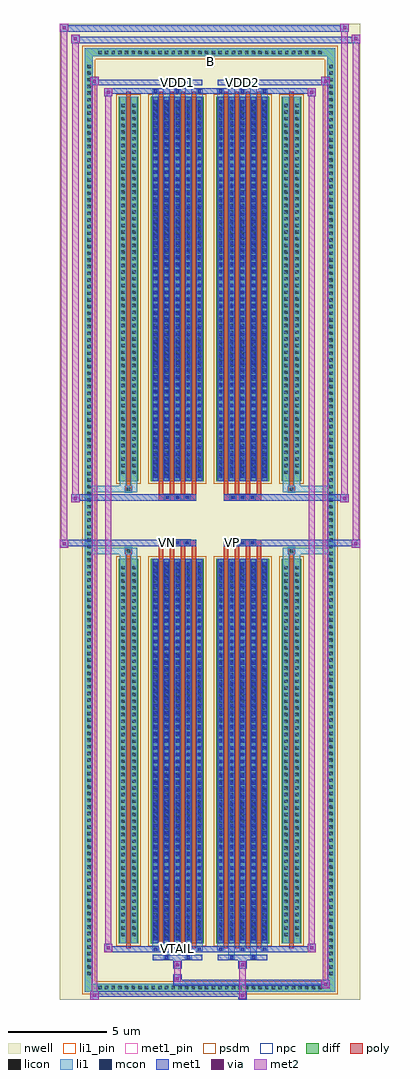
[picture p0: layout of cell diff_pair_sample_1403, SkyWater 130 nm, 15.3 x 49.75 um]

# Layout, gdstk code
import gdstk
lib = gdstk.Library(unit=1e-6, precision=5e-09)
def R(c, l, rs):  # rectangles x0, y0, x1, y1
    for r in rs: c.add(gdstk.rectangle(r[:2], r[2:], *l))
def A(c, l, x, y, w, h, nx, ny, dx, dy):  # array of equal rectangles
    R(c, l, [(x+i*dx, y+j*dy, x+i*dx+w, y+j*dy+h) for i in range(nx) for j in range(ny)])
def P(c, l, *ps):  # polygons
    for p in ps: c.add(gdstk.Polygon(p, *l))
nwell = (64, 20)
diff = (65, 20)
poly = (66, 20)
licon = (66, 44)
li1_pin = (67, 16)
li1 = (67, 20)
mcon = (67, 44)
met1_pin = (68, 16)
met1 = (68, 20)
via = (68, 44)
met2 = (69, 20)
psdm = (94, 20)
npc = (95, 20)

diff_pair_sample_1403 = lib.new_cell('diff_pair_sample_1403')
R(diff_pair_sample_1403, nwell, [(-7.65,-24.44,7.65,25.31), (-4.97,-22.63,-0.01,-0.795), (0.01,-22.63,4.97,-0.795), (-4.97,0.795,-0.01,22.63), (0.01,0.795,4.97,22.63)])
A(diff_pair_sample_1403, diff, -5.815, -24.04, 0.41, 0.41, 34, 2, 0.34, 47.67)
A(diff_pair_sample_1403, diff, -6.38, -23.325, 0.41, 0.41, 1, 137, 0, 0.34)
A(diff_pair_sample_1403, diff, 5.97, -23.325, 0.41, 0.41, 1, 137, 0, 0.34)
R(diff_pair_sample_1403, diff, [(-5.815,-24.04,5.815,-23.63), (-6.38,-23.325,-5.97,23.325), (5.97,-23.325,6.38,23.325), (-4.66,-21.585,-3.65,-1.985), (-3.01,-21.585,-0.32,-1.985), (0.32,-21.585,3.01,-1.985), (3.65,-21.585,4.66,-1.985), (-4.66,1.985,-3.65,21.585), (-3.01,1.985,-0.32,21.585), (0.32,1.985,3.01,21.585), (3.65,1.985,4.66,21.585), (-5.815,23.63,5.815,24.04)])
P(diff_pair_sample_1403, diff, [(6.38,24.04),(-6.38,24.04),(-6.38,-23.63),(-5.97,-23.63),(-5.97,23.63),(5.97,23.63),(5.97,-23.63),(-5.97,-23.63),(-6.38,-23.63),(-6.38,-24.04),(6.38,-24.04)])
A(diff_pair_sample_1403, poly, -2.62, -21.835, 0.23, 20.1, 4, 2, 0.56, 23.57)
A(diff_pair_sample_1403, poly, 0.71, -21.835, 0.23, 20.1, 4, 2, 0.56, 23.57)
A(diff_pair_sample_1403, poly, -2.62, -1.735, 0.23, 0.41, 4, 2, 0.56, 3.06)
A(diff_pair_sample_1403, poly, 0.71, -1.735, 0.23, 0.41, 4, 2, 0.56, 3.06)
A(diff_pair_sample_1403, poly, -2.33, -1.325, 0.33, 0.33, 3, 2, 0.5, 2.32)
A(diff_pair_sample_1403, poly, 1, -1.325, 0.33, 0.33, 3, 2, 0.5, 2.32)
R(diff_pair_sample_1403, poly, [(-4.27,-21.835,-4.04,-1.735), (4.04,-21.835,4.27,-1.735), (-4.32,-1.735,-3.99,-1.405), (-4.32,-1.735,-3.99,-1.405), (3.99,-1.735,4.32,-1.405), (3.99,-1.735,4.32,-1.405), (-2.62,-1.325,-0.71,-0.995), (0.71,-1.325,2.62,-0.995), (-2.62,0.995,-0.71,1.325), (0.71,0.995,2.62,1.325), (-4.32,1.405,-3.99,1.735), (-4.32,1.405,-3.99,1.735), (3.99,1.405,4.32,1.735), (3.99,1.405,4.32,1.735), (-4.27,1.735,-4.04,21.835), (4.04,1.735,4.27,21.835)])
A(diff_pair_sample_1403, licon, -5.695, -23.92, 0.17, 0.17, 34, 2, 0.34, 47.67)
A(diff_pair_sample_1403, licon, -6.26, -23.205, 0.17, 0.17, 1, 137, 0, 0.34)
A(diff_pair_sample_1403, licon, 6.09, -23.205, 0.17, 0.17, 1, 137, 0, 0.34)
A(diff_pair_sample_1403, licon, -4.52, -21.22, 0.17, 0.17, 1, 56, 0, 0.34)
A(diff_pair_sample_1403, licon, -3.96, -21.22, 0.17, 0.17, 1, 56, 0, 0.34)
A(diff_pair_sample_1403, licon, -2.87, -21.22, 0.17, 0.17, 5, 56, 0.56, 0.34)
A(diff_pair_sample_1403, licon, 0.46, -21.22, 0.17, 0.17, 5, 56, 0.56, 0.34)
A(diff_pair_sample_1403, licon, 3.79, -21.22, 0.17, 0.17, 1, 56, 0, 0.34)
A(diff_pair_sample_1403, licon, 4.35, -21.22, 0.17, 0.17, 1, 56, 0, 0.34)
A(diff_pair_sample_1403, licon, -2.25, -1.245, 0.17, 0.17, 3, 2, 0.5, 2.32)
A(diff_pair_sample_1403, licon, 1.08, -1.245, 0.17, 0.17, 3, 2, 0.5, 2.32)
A(diff_pair_sample_1403, licon, -4.52, 2.35, 0.17, 0.17, 1, 56, 0, 0.34)
A(diff_pair_sample_1403, licon, -3.96, 2.35, 0.17, 0.17, 1, 56, 0, 0.34)
A(diff_pair_sample_1403, licon, -2.87, 2.35, 0.17, 0.17, 5, 56, 0.56, 0.34)
A(diff_pair_sample_1403, licon, 0.46, 2.35, 0.17, 0.17, 5, 56, 0.56, 0.34)
A(diff_pair_sample_1403, licon, 3.79, 2.35, 0.17, 0.17, 1, 56, 0, 0.34)
A(diff_pair_sample_1403, licon, 4.35, 2.35, 0.17, 0.17, 1, 56, 0, 0.34)
R(diff_pair_sample_1403, licon, [(-4.24,-1.655,-4.07,-1.485), (4.07,-1.655,4.24,-1.485), (-4.24,1.485,-4.07,1.655), (4.07,1.485,4.24,1.655)])
R(diff_pair_sample_1403, li1_pin, [(-0.25,23.13,0.25,23.63)])
A(diff_pair_sample_1403, li1, -5.775, -24, 0.33, 0.33, 34, 2, 0.34, 47.67)
A(diff_pair_sample_1403, li1, -6.34, -23.285, 0.33, 0.33, 1, 137, 0, 0.34)
A(diff_pair_sample_1403, li1, 6.01, -23.285, 0.33, 0.33, 1, 137, 0, 0.34)
A(diff_pair_sample_1403, li1, -2.95, -21.96, 0.33, 0.375, 3, 2, 1.12, 43.545)
A(diff_pair_sample_1403, li1, -2.87, -21.96, 0.17, 0.17, 3, 2, 1.12, 43.75)
A(diff_pair_sample_1403, li1, 0.38, -21.96, 0.33, 0.375, 3, 2, 1.12, 43.545)
A(diff_pair_sample_1403, li1, 0.46, -21.96, 0.17, 0.17, 3, 2, 1.12, 43.75)
A(diff_pair_sample_1403, li1, -2.95, -21.585, 0.33, 19.6, 5, 2, 0.56, 23.57)
A(diff_pair_sample_1403, li1, 0.38, -21.585, 0.33, 19.6, 5, 2, 0.56, 23.57)
A(diff_pair_sample_1403, li1, -2.87, -21.41, 0.17, 0.17, 5, 54, 0.56, 0.36)
A(diff_pair_sample_1403, li1, -2.87, -21.41, 0.17, 19.25, 5, 2, 0.56, 23.57)
A(diff_pair_sample_1403, li1, 0.46, -21.41, 0.17, 0.17, 5, 54, 0.56, 0.36)
A(diff_pair_sample_1403, li1, 0.46, -21.41, 0.17, 19.25, 5, 2, 0.56, 23.57)
A(diff_pair_sample_1403, li1, -4.6, -21.3, 0.33, 0.33, 1, 56, 0, 0.34)
A(diff_pair_sample_1403, li1, -4.04, -21.3, 0.33, 0.33, 1, 56, 0, 0.34)
A(diff_pair_sample_1403, li1, -2.95, -21.3, 0.33, 0.33, 5, 56, 0.56, 0.34)
A(diff_pair_sample_1403, li1, 0.38, -21.3, 0.33, 0.33, 5, 56, 0.56, 0.34)
A(diff_pair_sample_1403, li1, 3.71, -21.3, 0.33, 0.33, 1, 56, 0, 0.34)
A(diff_pair_sample_1403, li1, 4.27, -21.3, 0.33, 0.33, 1, 56, 0, 0.34)
A(diff_pair_sample_1403, li1, -2.33, -1.325, 0.33, 0.33, 3, 2, 0.5, 2.32)
A(diff_pair_sample_1403, li1, 1, -1.325, 0.33, 0.33, 3, 2, 0.5, 2.32)
A(diff_pair_sample_1403, li1, -2.87, 2.16, 0.17, 0.17, 5, 54, 0.56, 0.36)
A(diff_pair_sample_1403, li1, 0.46, 2.16, 0.17, 0.17, 5, 54, 0.56, 0.36)
A(diff_pair_sample_1403, li1, -4.6, 2.27, 0.33, 0.33, 1, 56, 0, 0.34)
A(diff_pair_sample_1403, li1, -4.04, 2.27, 0.33, 0.33, 1, 56, 0, 0.34)
A(diff_pair_sample_1403, li1, -2.95, 2.27, 0.33, 0.33, 5, 56, 0.56, 0.34)
A(diff_pair_sample_1403, li1, 0.38, 2.27, 0.33, 0.33, 5, 56, 0.56, 0.34)
A(diff_pair_sample_1403, li1, 3.71, 2.27, 0.33, 0.33, 1, 56, 0, 0.34)
A(diff_pair_sample_1403, li1, 4.27, 2.27, 0.33, 0.33, 1, 56, 0, 0.34)
R(diff_pair_sample_1403, li1, [(-6.38,-24.04,-5.97,-23.63), (-6.38,-24.04,-5.97,-23.63), (-5.97,-24.04,5.97,-23.63), (5.97,-24.04,6.38,-23.63), (5.97,-24.04,6.38,-23.63), (-6.38,-23.63,-5.97,23.63), (5.97,-23.63,6.38,23.63), (-2.39,-22.39,-2.06,-21.585), (-2.31,-22.39,-2.14,-22.22), (-1.27,-22.39,-0.94,-21.585), (-1.19,-22.39,-1.02,-22.22), (0.94,-22.39,1.27,-21.585), (1.02,-22.39,1.19,-22.22), (2.06,-22.39,2.39,-21.585), (2.14,-22.39,2.31,-22.22), (-4.6,-21.585,-4.27,-1.985), (-4.04,-21.585,-3.71,-1.985), (3.71,-21.585,4.04,-1.985), (4.27,-21.585,4.6,-1.985), (-4.6,-1.985,-4.27,-1.405), (-4.04,-1.985,-3.71,-1.405), (3.71,-1.985,4.04,-1.405), (4.27,-1.985,4.6,-1.405), (-6.38,-1.735,-4.32,-1.405), (-4.6,-1.735,-4.32,-1.405), (-4.32,-1.735,-3.99,-1.405), (-3.99,-1.735,-3.71,-1.405), (3.71,-1.735,3.99,-1.405), (3.99,-1.735,4.32,-1.405), (3.99,-1.735,6.38,-1.405), (4.32,-1.735,4.6,-1.405), (-6.38,1.405,-4.32,1.735), (-4.6,1.405,-4.32,1.735), (-4.6,1.405,-4.27,1.985), (-4.32,1.405,-3.99,1.735), (-4.04,1.405,-3.71,1.985), (-3.99,1.405,-3.71,1.735), (3.71,1.405,3.99,1.735), (3.71,1.405,4.04,1.985), (3.99,1.405,4.32,1.735), (3.99,1.405,6.38,1.735), (4.27,1.405,4.6,1.985), (4.32,1.405,4.6,1.735), (-4.6,1.985,-4.27,21.585), (-4.04,1.985,-3.71,21.585), (3.71,1.985,4.04,21.585), (4.27,1.985,4.6,21.585), (-2.39,21.585,-2.06,22.39), (-1.27,21.585,-0.94,22.39), (0.94,21.585,1.27,22.39), (2.06,21.585,2.39,22.39), (-2.31,22.22,-2.14,22.39), (-1.19,22.22,-1.02,22.39), (1.02,22.22,1.19,22.39), (2.14,22.22,2.31,22.39), (-6.38,23.63,-5.97,24.04), (-6.38,23.63,-5.97,24.04), (-5.97,23.63,5.97,24.04), (5.97,23.63,6.38,24.04), (5.97,23.63,6.38,24.04)])
A(diff_pair_sample_1403, mcon, -2.87, -21.96, 0.17, 0.17, 3, 2, 1.12, 43.75)
A(diff_pair_sample_1403, mcon, 0.46, -21.96, 0.17, 0.17, 3, 2, 1.12, 43.75)
A(diff_pair_sample_1403, mcon, -2.87, -21.41, 0.17, 0.17, 5, 54, 0.56, 0.36)
A(diff_pair_sample_1403, mcon, 0.46, -21.41, 0.17, 0.17, 5, 54, 0.56, 0.36)
A(diff_pair_sample_1403, mcon, -2.25, -1.245, 0.17, 0.17, 3, 2, 0.5, 2.32)
A(diff_pair_sample_1403, mcon, 1.08, -1.245, 0.17, 0.17, 3, 2, 0.5, 2.32)
A(diff_pair_sample_1403, mcon, -2.87, 2.16, 0.17, 0.17, 5, 54, 0.56, 0.36)
A(diff_pair_sample_1403, mcon, 0.46, 2.16, 0.17, 0.17, 5, 54, 0.56, 0.36)
R(diff_pair_sample_1403, mcon, [(-2.31,-22.39,-2.14,-22.22), (-1.19,-22.39,-1.02,-22.22), (1.02,-22.39,1.19,-22.22), (2.14,-22.39,2.31,-22.22), (-2.31,22.22,-2.14,22.39), (-1.19,22.22,-1.02,22.39), (1.02,22.22,1.19,22.39), (2.14,22.22,2.31,22.39)])
R(diff_pair_sample_1403, met1_pin, [(-1.8,-22,-1.53,-21.73), (-2.3,-1.285,-2.03,-1.015), (1.03,-1.285,1.3,-1.015), (-1.8,22.18,-1.53,22.45), (1.53,22.18,1.8,22.45)])
A(diff_pair_sample_1403, met1, -2.93, -22.02, 0.29, 0.29, 3, 2, 1.12, 43.75)
A(diff_pair_sample_1403, met1, 0.4, -22.02, 0.29, 0.29, 3, 2, 1.12, 43.75)
A(diff_pair_sample_1403, met1, -2.93, -21.585, 0.29, 19.6, 5, 2, 0.56, 23.57)
A(diff_pair_sample_1403, met1, 0.4, -21.585, 0.29, 19.6, 5, 2, 0.56, 23.57)
A(diff_pair_sample_1403, met1, -2.93, -21.47, 0.29, 0.29, 5, 54, 0.56, 0.36)
A(diff_pair_sample_1403, met1, 0.4, -21.47, 0.29, 0.29, 5, 54, 0.56, 0.36)
A(diff_pair_sample_1403, met1, -2.31, -1.305, 0.29, 0.29, 3, 2, 0.5, 2.32)
A(diff_pair_sample_1403, met1, 1.02, -1.305, 0.29, 0.29, 3, 2, 0.5, 2.32)
A(diff_pair_sample_1403, met1, -2.93, 2.1, 0.29, 0.29, 5, 54, 0.56, 0.36)
A(diff_pair_sample_1403, met1, 0.4, 2.1, 0.29, 0.29, 5, 54, 0.56, 0.36)
R(diff_pair_sample_1403, met1, [(-6.11,-24.44,-5.68,-24.01), (1.45,-24.44,1.88,-24.01), (-6.11,-24.3,1.88,-24.01), (5.68,-23.87,6.11,-23.44), (-1.88,-23.73,6.11,-23.44), (-1.88,-23.59,-1.45,-23.16), (-1.88,-22.88,-1.45,-22.45), (1.45,-22.88,1.88,-22.45), (-2.93,-22.45,-0.4,-22.16), (-2.37,-22.45,-2.08,-22.16), (-1.25,-22.45,-0.96,-22.16), (0.4,-22.45,2.93,-22.16), (0.96,-22.45,1.25,-22.16), (2.08,-22.45,2.37,-22.16), (-5.4,-22.02,-4.97,-21.59), (-5.4,-22.02,-2.93,-21.73), (-2.93,-22.02,-0.4,-21.73), (-0.4,-22.02,0.4,-21.73), (0.4,-22.02,2.93,-21.73), (2.93,-22.02,5.4,-21.73), (4.97,-22.02,5.4,-21.59), (-7.65,-1.425,-7.22,-0.995), (7.22,-1.425,7.65,-0.995), (-7.65,-1.325,-0.71,-0.995), (-2.62,-1.325,-0.71,-0.995), (0.71,-1.325,2.62,-0.995), (0.71,-1.325,7.65,-0.995), (-7.08,0.895,-6.65,1.325), (6.65,0.895,7.08,1.325), (-7.08,0.995,-2.62,1.325), (-2.62,0.995,-0.71,1.325), (0.71,0.995,2.62,1.325), (2.62,0.995,7.08,1.325), (-5.4,21.59,-4.97,22.02), (4.97,21.59,5.4,22.02), (-5.4,21.73,-2.93,22.02), (-2.93,21.73,-0.4,22.02), (-0.4,21.73,0.4,22.02), (0.4,21.73,2.93,22.02), (2.93,21.73,5.4,22.02), (-6.11,22.16,-5.68,22.59), (-6.11,22.16,-2.93,22.45), (-2.93,22.16,-0.4,22.45), (-2.37,22.16,-2.08,22.45), (-1.25,22.16,-0.96,22.45), (0.4,22.16,2.93,22.45), (0.96,22.16,1.25,22.45), (2.08,22.16,2.37,22.45), (2.93,22.16,6.11,22.45), (5.68,22.16,6.11,22.59), (-7.08,24.31,-6.65,24.74), (-7.08,24.31,-4.97,24.64), (-4.97,24.31,4.97,24.64), (4.97,24.31,7.65,24.64), (7.22,24.31,7.65,24.74), (-7.65,24.88,-7.22,25.31), (-7.65,24.88,-4.97,25.21), (-4.97,24.88,4.97,25.21), (4.97,24.88,7.08,25.21), (6.65,24.88,7.08,25.31)])
R(diff_pair_sample_1403, via, [(-5.97,-24.3,-5.82,-24.15), (1.59,-24.3,1.74,-24.15), (5.82,-23.73,5.97,-23.58), (-1.74,-23.45,-1.59,-23.3), (-1.74,-22.74,-1.59,-22.59), (1.59,-22.74,1.74,-22.59), (-5.26,-21.88,-5.11,-21.73), (5.11,-21.88,5.26,-21.73), (-7.51,-1.285,-7.36,-1.135), (7.36,-1.285,7.51,-1.135), (-6.94,1.035,-6.79,1.185), (6.79,1.035,6.94,1.185), (-5.26,21.73,-5.11,21.88), (5.11,21.73,5.26,21.88), (-5.97,22.3,-5.82,22.45), (5.82,22.3,5.97,22.45), (-6.94,24.45,-6.79,24.6), (7.36,24.45,7.51,24.6), (-7.51,25.02,-7.36,25.17), (6.79,25.02,6.94,25.17)])
R(diff_pair_sample_1403, met2, [(-6.11,-24.44,-5.68,-24.01), (-6.04,-24.44,-5.75,22.59), (-5.75,-24.44,-5.68,-24.01), (-6.06,-24.39,-5.73,-24.06), (1.5,-24.39,1.83,-24.06), (1.5,-24.06,1.83,-22.83), (5.68,-23.87,6.11,-23.44), (5.75,-23.87,6.04,22.59), (6.04,-23.87,6.11,-23.44), (5.73,-23.82,6.06,-23.49), (-1.83,-23.54,-1.5,-23.21), (-1.83,-23.21,-1.5,-22.83), (-1.83,-22.83,-1.5,-22.5), (1.5,-22.83,1.83,-22.5), (-5.4,-22.02,-4.97,-21.59), (-5.33,-22.02,-5.04,22.02), (-5.04,-22.02,-4.97,-21.59), (4.97,-22.02,5.4,-21.59), (5.04,-22.02,5.33,22.02), (5.33,-22.02,5.4,-21.59), (-5.35,-21.97,-5.02,-21.64), (5.02,-21.97,5.35,-21.64), (-7.65,-1.425,-7.22,-0.995), (-7.6,-1.425,-7.27,25.31), (-7.27,-1.425,-7.22,-0.995), (7.22,-1.425,7.65,-0.995), (7.27,-1.425,7.6,24.74), (7.6,-1.425,7.65,-0.995), (-7.6,-1.375,-7.27,-1.045), (7.27,-1.375,7.6,-1.045), (-7.08,0.895,-6.65,1.325), (-7.03,0.895,-6.7,24.74), (-6.7,0.895,-6.65,1.325), (6.65,0.895,7.08,1.325), (6.7,0.895,7.03,25.31), (7.03,0.895,7.08,1.325), (-7.03,0.945,-6.7,1.275), (6.7,0.945,7.03,1.275), (-5.4,21.59,-4.97,22.02), (-5.04,21.59,-4.97,22.02), (4.97,21.59,5.4,22.02), (5.33,21.59,5.4,22.02), (-5.35,21.64,-5.02,21.97), (5.02,21.64,5.35,21.97), (-6.11,22.16,-5.68,22.59), (-5.75,22.16,-5.68,22.59), (5.68,22.16,6.11,22.59), (6.04,22.16,6.11,22.59), (-6.06,22.21,-5.73,22.54), (5.73,22.21,6.06,22.54), (-7.08,24.31,-6.65,24.74), (-6.7,24.31,-6.65,24.74), (7.22,24.31,7.65,24.74), (7.6,24.31,7.65,24.74), (-7.03,24.36,-6.7,24.69), (7.27,24.36,7.6,24.69), (-7.65,24.88,-7.22,25.31), (-7.27,24.88,-7.22,25.31), (6.65,24.88,7.08,25.31), (7.03,24.88,7.08,25.31), (-7.6,24.93,-7.27,25.26), (6.7,24.93,7.03,25.26)])
R(diff_pair_sample_1403, psdm, [(-4.79,-21.715,-3.52,-1.855), (-3.14,-21.715,-0.19,-1.855), (0.19,-21.715,3.14,-1.855), (3.52,-21.715,4.79,-1.855), (-4.79,1.855,-3.52,21.715), (-3.14,1.855,-0.19,21.715), (0.19,1.855,3.14,21.715), (3.52,1.855,4.79,21.715)])
P(diff_pair_sample_1403, psdm, [(6.51,24.17),(-6.51,24.17),(-6.51,-23.5),(-5.84,-23.5),(-5.84,23.5),(5.84,23.5),(5.84,-23.5),(-5.84,-23.5),(-6.51,-23.5),(-6.51,-24.17),(6.51,-24.17)])
A(diff_pair_sample_1403, npc, -2.35, -1.345, 0.37, 0.37, 3, 2, 0.5, 2.32)
A(diff_pair_sample_1403, npc, 0.98, -1.345, 0.37, 0.37, 3, 2, 0.5, 2.32)
R(diff_pair_sample_1403, npc, [(-4.34,-1.755,-3.97,-1.385), (3.97,-1.755,4.34,-1.385), (-2.35,-1.345,-1.48,-0.975), (-2.35,-1.345,-1.48,-0.975), (-1.85,-1.345,-0.98,-0.975), (-1.85,-1.345,-0.98,-0.975), (0.98,-1.345,1.85,-0.975), (0.98,-1.345,1.85,-0.975), (1.48,-1.345,2.35,-0.975), (1.48,-1.345,2.35,-0.975), (-2.35,0.975,-1.48,1.345), (-2.35,0.975,-1.48,1.345), (-1.85,0.975,-0.98,1.345), (-1.85,0.975,-0.98,1.345), (0.98,0.975,1.85,1.345), (0.98,0.975,1.85,1.345), (1.48,0.975,2.35,1.345), (1.48,0.975,2.35,1.345), (-4.34,1.385,-3.97,1.755), (3.97,1.385,4.34,1.755)])
diff_pair_sample_1403.add(gdstk.Label('VTAIL', (-1.665,-21.865), layer=68, texttype=5))
diff_pair_sample_1403.add(gdstk.Label('VN', (-2.165,-1.15), layer=68, texttype=5))
diff_pair_sample_1403.add(gdstk.Label('VP', (1.165,-1.15), layer=68, texttype=5))
diff_pair_sample_1403.add(gdstk.Label('B', (0,23.38), layer=67, texttype=5))
diff_pair_sample_1403.add(gdstk.Label('VDD2', (1.665,22.315), layer=68, texttype=5))
diff_pair_sample_1403.add(gdstk.Label('VDD1', (-1.665,22.315), layer=68, texttype=5))

lib.write_gds('diff_pair_sample_1403.gds')
